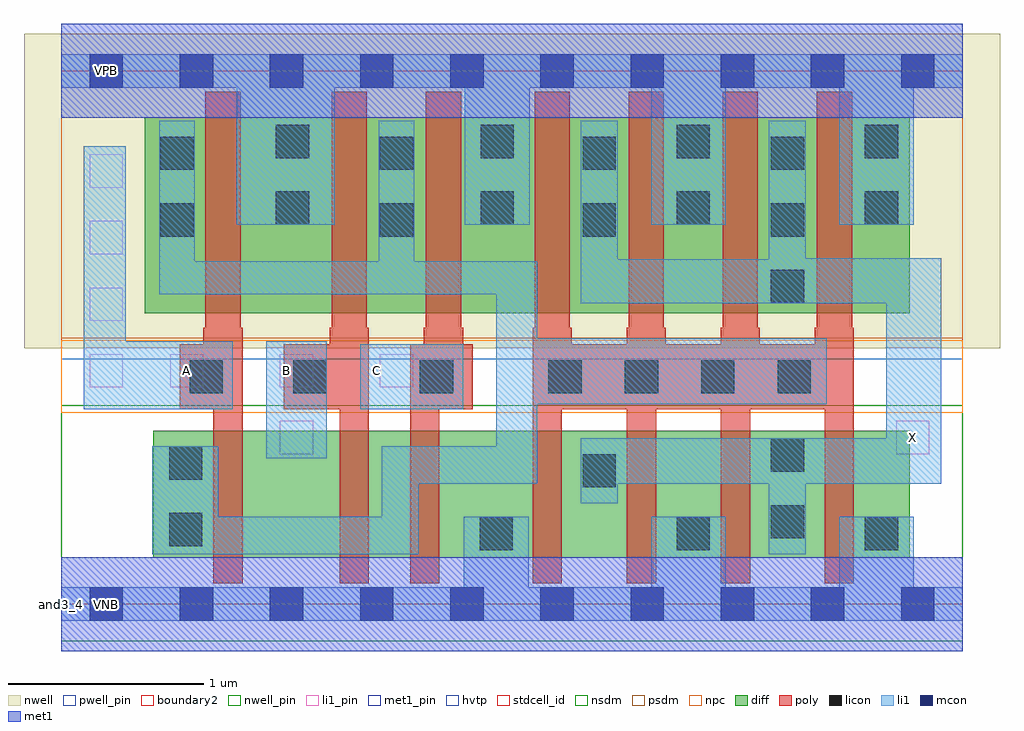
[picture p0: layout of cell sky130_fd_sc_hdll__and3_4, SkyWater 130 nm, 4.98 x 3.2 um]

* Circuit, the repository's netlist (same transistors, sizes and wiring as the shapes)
* Copyright 2020 The SkyWater PDK Authors
*
* Licensed under the Apache License, Version 2.0 (the "License");
* you may not use this file except in compliance with the License.
* You may obtain a copy of the License at
*
*     https://www.apache.org/licenses/LICENSE-2.0
*
* Unless required by applicable law or agreed to in writing, software
* distributed under the License is distributed on an "AS IS" BASIS,
* WITHOUT WARRANTIES OR CONDITIONS OF ANY KIND, either express or implied.
* See the License for the specific language governing permissions and
* limitations under the License.
*
* SPDX-License-Identifier: Apache-2.0

.SUBCKT sky130_fd_sc_hdll__and3_4 A B C VGND VNB VPB VPWR X
*.PININFO A:I B:I C:I VGND:I VNB:I VPB:I VPWR:I X:O
MMP0 y A VPWR VPB sky130_fd_pr__pfet_01v8_hvt m=1 w=1.0U l=0.18U mult=1 sa=0.265
+ sb=0.265 sd=0.28 area=0.063 perim=1.14
MMP1 y B VPWR VPB sky130_fd_pr__pfet_01v8_hvt m=1 w=1.0U l=0.18U mult=1 sa=0.265
+ sb=0.265 sd=0.28 area=0.063 perim=1.14
MMP2 y C VPWR VPB sky130_fd_pr__pfet_01v8_hvt m=1 w=1.0U l=0.18U mult=1 sa=0.265
+ sb=0.265 sd=0.28 area=0.063 perim=1.14
MMIP0 X y VPWR VPB sky130_fd_pr__pfet_01v8_hvt m=4 w=1.0U l=0.18U mult=1 sa=0.265
+ sb=0.265 sd=0.28 area=0.063 perim=1.14
MMN0 y A sndA VNB sky130_fd_pr__nfet_01v8 m=1 w=0.65U l=0.15U mult=1 sa=0.265 sb=0.265
+ sd=0.28 area=0.063 perim=1.14
MMN1 sndA B sndB VNB sky130_fd_pr__nfet_01v8 m=1 w=0.65U l=0.15U mult=1 sa=0.265
+ sb=0.265 sd=0.28 area=0.063 perim=1.14
MMN2 sndB C VGND VNB sky130_fd_pr__nfet_01v8 m=1 w=0.65U l=0.15U mult=1 sa=0.265
+ sb=0.265 sd=0.28 area=0.063 perim=1.14
MMIN0 X y VGND VNB sky130_fd_pr__nfet_01v8 m=4 w=0.65U l=0.15U mult=1 sa=0.265
+ sb=0.265 sd=0.28 area=0.063 perim=1.14
.ENDS sky130_fd_sc_hdll__and3_4

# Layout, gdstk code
import gdstk
lib = gdstk.Library(unit=1e-6, precision=1e-09)
def R(c, l, rs):  # rectangles x0, y0, x1, y1
    for r in rs: c.add(gdstk.rectangle(r[:2], r[2:], *l))
def A(c, l, x, y, w, h, nx, ny, dx, dy):  # array of equal rectangles
    R(c, l, [(x+i*dx, y+j*dy, x+i*dx+w, y+j*dy+h) for i in range(nx) for j in range(ny)])
def P(c, l, *ps):  # polygons
    for p in ps: c.add(gdstk.Polygon(p, *l))
nwell_pin = (64, 16)
nwell = (64, 20)
diff = (65, 20)
poly = (66, 20)
licon = (66, 44)
li1_pin = (67, 16)
li1 = (67, 20)
mcon = (67, 44)
met1_pin = (68, 16)
met1 = (68, 20)
hvtp = (78, 44)
stdcell_id = (81, 4)
nsdm = (93, 44)
psdm = (94, 20)
npc = (95, 20)
pwell_pin = (122, 16)
boundary2 = (236, 0)

sky130_fd_sc_hdll__and3_ = lib.new_cell('sky130_fd_sc_hdll__and3_4')
R(sky130_fd_sc_hdll__and3_, nwell_pin, [(0.145,2.635,0.315,2.805)])
R(sky130_fd_sc_hdll__and3_, nwell, [(-0.19,1.305,4.79,2.91)])
R(sky130_fd_sc_hdll__and3_, diff, [(0.47,0.235,4.33,0.885), (0.425,1.485,4.33,2.485)])
P(sky130_fd_sc_hdll__and3_, poly, [(0.925,1.41),(0.915,1.41),(0.915,2.615),(0.735,2.615),(0.735,1.41),(0.725,1.41),(0.725,1.325),(0.605,1.325),(0.605,0.995),(0.775,0.995),(0.775,0.105),(0.925,0.105)],
  [(1.57,1.41),(1.56,1.41),(1.56,2.615),(1.38,2.615),(1.38,1.41),(1.37,1.41),(1.37,1.325),(1.135,1.325),(1.135,0.995),(1.42,0.995),(1.42,0.105),(1.57,0.105)],
  [(2.1,1.325),(2.05,1.325),(2.05,1.41),(2.04,1.41),(2.04,2.615),(1.86,2.615),(1.86,1.41),(1.85,1.41),(1.85,1.325),(1.78,1.325),(1.78,0.105),(1.93,0.105),(1.93,0.995),(2.1,0.995)],
  [(4.045,1.41),(4.035,1.41),(4.035,2.615),(3.855,2.615),(3.855,1.41),(3.845,1.41),(3.845,1.325),(3.565,1.325),(3.565,1.41),(3.555,1.41),(3.555,2.615),(3.375,2.615),(3.375,1.41),(3.365,1.41),(3.365,1.325),(3.085,1.325),(3.085,1.41),(3.075,1.41),(3.075,2.615),(2.895,2.615),(2.895,1.41),(2.885,1.41),(2.885,1.325),(2.605,1.325),(2.605,1.41),(2.595,1.41),(2.595,2.615),(2.415,2.615),(2.415,1.41),(2.405,1.41),(2.405,0.105),(2.555,0.105),(2.555,0.995),(2.885,0.995),(2.885,0.105),(3.035,0.105),(3.035,0.995),(3.365,0.995),(3.365,0.105),(3.515,0.105),(3.515,0.995),(3.895,0.995),(3.895,0.105),(4.045,0.105)])
A(sky130_fd_sc_hdll__and3_, licon, 2.485, 1.075, 0.17, 0.17, 4, 1, 0.39, 0)
A(sky130_fd_sc_hdll__and3_, licon, 3.62, 1.535, 0.17, 0.17, 1, 3, 0, 0.34)
R(sky130_fd_sc_hdll__and3_, licon, [(2.135,0.275,2.305,0.445), (3.14,0.275,3.31,0.445), (4.1,0.275,4.27,0.445), (0.55,0.295,0.72,0.465), (3.62,0.335,3.79,0.505), (2.66,0.595,2.83,0.765), (0.55,0.635,0.72,0.805), (3.62,0.675,3.79,0.845), (0.655,1.075,0.825,1.245), (1.185,1.075,1.355,1.245), (1.83,1.075,2,1.245), (0.505,1.875,0.675,2.045), (1.625,1.875,1.795,2.045), (2.66,1.875,2.83,2.045), (1.095,1.935,1.265,2.105), (2.14,1.935,2.31,2.105), (3.14,1.935,3.31,2.105), (4.1,1.935,4.27,2.105), (0.505,2.215,0.675,2.385), (1.625,2.215,1.795,2.385), (2.66,2.215,2.83,2.385), (1.095,2.275,1.265,2.445), (2.14,2.275,2.31,2.445), (3.14,2.275,3.31,2.445), (4.1,2.275,4.27,2.445)])
A(sky130_fd_sc_hdll__and3_, li1_pin, 0.145, 1.105, 0.17, 0.17, 1, 4, 0, 0.34)
R(sky130_fd_sc_hdll__and3_, li1_pin, [(1.115,0.765,1.285,0.935), (4.26,0.765,4.43,0.935), (0.555,1.105,0.725,1.275), (1.115,1.105,1.285,1.275), (1.625,1.105,1.795,1.275)])
R(sky130_fd_sc_hdll__and3_, li1, [(1.045,0.745,1.355,1.34), (1.525,0.995,2.05,1.325)])
P(sky130_fd_sc_hdll__and3_, li1, [(4.6,0.085),(4.35,0.085),(4.35,0.445),(3.97,0.445),(3.97,0.085),(3.39,0.085),(3.39,0.445),(3.01,0.445),(3.01,0.085),(2.385,0.085),(2.385,0.445),(2.055,0.445),(2.055,0.085),(0,0.085),(0,-0.085),(4.6,-0.085)],
  [(0.875,1.34),(0.33,1.34),(0.33,2.335),(0.115,2.335),(0.115,0.995),(0.875,0.995)],
  [(4.49,1.765),(3.8,1.765),(3.8,2.465),(3.61,2.465),(3.61,1.76),(2.84,1.76),(2.84,2.465),(2.65,2.465),(2.65,1.535),(4.21,1.535),(4.21,0.845),(2.65,0.845),(2.65,0.515),(2.84,0.515),(2.84,0.615),(3.61,0.615),(3.61,0.255),(3.8,0.255),(3.8,0.615),(4.49,0.615)],
  [(3.905,1.355),(2.43,1.355),(2.43,1.75),(1.8,1.75),(1.8,2.465),(1.62,2.465),(1.62,1.75),(0.68,1.75),(0.68,2.465),(0.5,2.465),(0.5,1.58),(2.22,1.58),(2.22,0.805),(1.635,0.805),(1.635,0.445),(0.8,0.445),(0.8,0.805),(0.465,0.805),(0.465,0.255),(1.825,0.255),(1.825,0.615),(2.43,0.615),(2.43,1.02),(3.905,1.02)],
  [(4.6,2.805),(0,2.805),(0,2.635),(0.895,2.635),(0.895,1.935),(1.395,1.935),(1.395,2.635),(2.06,2.635),(2.06,1.935),(2.39,1.935),(2.39,2.635),(3.01,2.635),(3.01,1.935),(3.39,1.935),(3.39,2.635),(3.97,2.635),(3.97,1.935),(4.35,1.935),(4.35,2.635),(4.6,2.635)])
A(sky130_fd_sc_hdll__and3_, mcon, 0.145, -0.085, 0.17, 0.17, 10, 2, 0.46, 2.72)
R(sky130_fd_sc_hdll__and3_, met1_pin, [(0.145,-0.085,0.315,0.085), (0.145,2.635,0.315,2.805)])
R(sky130_fd_sc_hdll__and3_, met1, [(0,-0.24,4.6,0.24), (0,2.48,4.6,2.96)])
R(sky130_fd_sc_hdll__and3_, hvtp, [(0,1.25,4.6,2.72)])
R(sky130_fd_sc_hdll__and3_, stdcell_id, [(0,0,4.6,2.72)])
R(sky130_fd_sc_hdll__and3_, nsdm, [(0,-0.19,4.6,1.015)])
R(sky130_fd_sc_hdll__and3_, psdm, [(0,1.355,4.6,2.91)])
R(sky130_fd_sc_hdll__and3_, npc, [(0,0.975,4.6,1.345)])
R(sky130_fd_sc_hdll__and3_, pwell_pin, [(0.145,-0.085,0.315,0.085)])
R(sky130_fd_sc_hdll__and3_, boundary2, [(0,0,4.6,2.72)])
sky130_fd_sc_hdll__and3_.add(gdstk.Label('A', (0.64,1.19), layer=67, texttype=5))
sky130_fd_sc_hdll__and3_.add(gdstk.Label('B', (1.15,1.19), layer=67, texttype=5))
sky130_fd_sc_hdll__and3_.add(gdstk.Label('C', (1.61,1.19), layer=67, texttype=5))
sky130_fd_sc_hdll__and3_.add(gdstk.Label('X', (4.345,0.85), layer=67, texttype=5))
sky130_fd_sc_hdll__and3_.add(gdstk.Label('VNB', (0.23,0), layer=64, texttype=59))
sky130_fd_sc_hdll__and3_.add(gdstk.Label('VPB', (0.23,2.72), layer=64, texttype=5))
sky130_fd_sc_hdll__and3_.add(gdstk.Label('VGND', (0.23,0), layer=68, texttype=5))
sky130_fd_sc_hdll__and3_.add(gdstk.Label('VPWR', (0.23,2.72), layer=68, texttype=5))
sky130_fd_sc_hdll__and3_.add(gdstk.Label('and3_4', (0,0), layer=83, texttype=44))

lib.write_gds('sky130_fd_sc_hdll__and3_4.gds')
